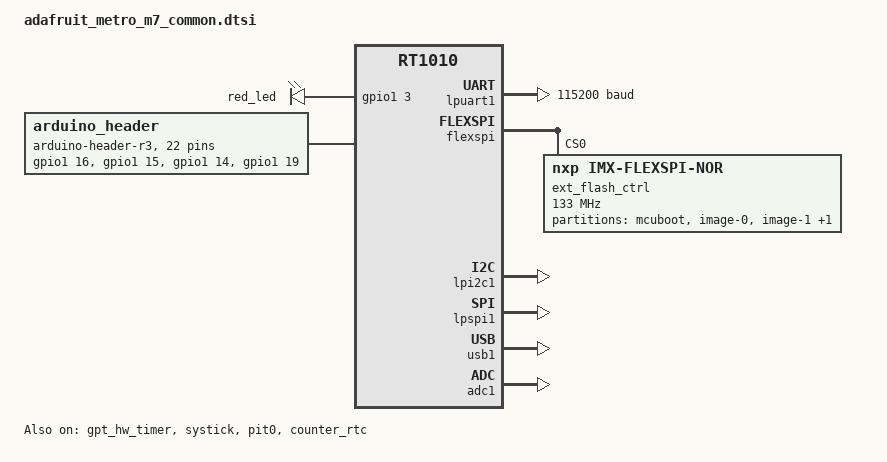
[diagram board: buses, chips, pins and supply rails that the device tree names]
/*
 * Copyright (c) 2026 Adafruit Industries LLC
 *
 * SPDX-License-Identifier: Apache-2.0
 */

#include <nxp/imxrt/nxp_rt1010.dtsi>
#include "adafruit_metro_m7-pinctrl.dtsi"
#include <zephyr/dt-bindings/gpio/arduino-header-r3.h>

/ {
	aliases {
		led0 = &red_led;
		rtc = &counter_rtc;
	};

	chosen {
		zephyr,sram = &ocram;
		zephyr,itcm = &itcm;
		zephyr,dtcm = &dtcm;
		zephyr,console = &lpuart1;
		zephyr,shell-uart = &lpuart1;
		zephyr,flash = &w25q64jv;
		zephyr,flash-controller = &ext_flash_ctrl;
		zephyr,code-partition = &slot0_partition;
		zephyr,uart-mcumgr = &lpuart1;
	};

	leds {
		compatible = "gpio-leds";

		red_led: led-0 {
			gpios = <&gpio1 3 GPIO_ACTIVE_HIGH>;
		};
	};

	arduino_header: connector {
		compatible = "arduino-header-r3";
		#gpio-cells = <2>;
		gpio-map-mask = <0xffffffff 0xffffffc0>;
		gpio-map-pass-thru = <0 0x3f>;
		gpio-map = <ARDUINO_HEADER_R3_A0 0 &gpio1 16 0>,	/* GPIO_AD_02 */
			   <ARDUINO_HEADER_R3_A1 0 &gpio1 15 0>,	/* GPIO_AD_01 */
			   <ARDUINO_HEADER_R3_A2 0 &gpio1 14 0>,	/* GPIO_AD_00 */
			   <ARDUINO_HEADER_R3_A3 0 &gpio1 19 0>,	/* GPIO_AD_05 */
			   <ARDUINO_HEADER_R3_A4 0 &gpio1 24 0>,	/* GPIO_AD_10 */
			   <ARDUINO_HEADER_R3_A5 0 &gpio1 22 0>,	/* GPIO_AD_08 */
			   <ARDUINO_HEADER_R3_D0 0 &gpio1 9 0>,		/* GPIO_09 */
			   <ARDUINO_HEADER_R3_D1 0 &gpio1 10 0>,	/* GPIO_10 */
			   <ARDUINO_HEADER_R3_D2 0 &gpio1 13 0>,	/* GPIO_13 */
			   <ARDUINO_HEADER_R3_D3 0 &gpio1 12 0>,	/* GPIO_12 */
			   <ARDUINO_HEADER_R3_D4 0 &gpio2 0 0>,		/* GPIO_SD_00 */
			   <ARDUINO_HEADER_R3_D5 0 &gpio2 1 0>,		/* GPIO_SD_01 */
			   <ARDUINO_HEADER_R3_D6 0 &gpio2 2 0>,		/* GPIO_SD_02 */
			   <ARDUINO_HEADER_R3_D7 0 &gpio1 11 0>,	/* GPIO_11 */
			   <ARDUINO_HEADER_R3_D8 0 &gpio1 8 0>,		/* GPIO_08 */
			   <ARDUINO_HEADER_R3_D9 0 &gpio1 7 0>,		/* GPIO_07 */
			   <ARDUINO_HEADER_R3_D10 0 &gpio1 6 0>,	/* GPIO_06 */
			   <ARDUINO_HEADER_R3_D11 0 &gpio1 5 0>,	/* GPIO_05 */
			   <ARDUINO_HEADER_R3_D12 0 &gpio1 4 0>,	/* GPIO_04 */
			   <ARDUINO_HEADER_R3_D13 0 &gpio1 3 0>,	/* GPIO_03 */
			   <ARDUINO_HEADER_R3_D14 0 &gpio1 1 0>,	/* GPIO_01, SDA */
			   <ARDUINO_HEADER_R3_D15 0 &gpio1 2 0>;	/* GPIO_02, SCL */
	};
};

arduino_serial: &lpuart1 {};

&flexspi {
	status = "okay";
	reg = <0x400a0000 0x4000>, <0x60000000 DT_SIZE_M(8)>;

	ext_flash_ctrl: flash-controller@0 {
		compatible = "nxp,imx-flexspi-nor";
		size = <DT_SIZE_M(8 * 8)>;
		reg = <0>;
		spi-max-frequency = <DT_FREQ_M(133)>;
		status = "okay";
		jedec-id = [ef 40 17];

		#address-cells = <1>;
		#size-cells = <1>;
		ranges = <0x0 0x60000000 DT_SIZE_M(8)>;

		w25q64jv: flash@0 {
			compatible = "soc-nv-flash";
			reg = <0x0 DT_SIZE_M(8)>;
			erase-block-size = <DT_SIZE_K(4)>;
			write-block-size = <1>;

			#address-cells = <1>;
			#size-cells = <1>;
			ranges;

			partitions {
				#address-cells = <1>;
				#size-cells = <1>;
				ranges;

				/*
				 * Partition sizes must be aligned
				 * to the flash memory sector size of 4KB.
				 */
				boot_partition: partition@0 {
					compatible = "zephyr,mapped-partition";
					label = "mcuboot";
					reg = <0x00000000 DT_SIZE_K(128)>;
				};

				slot0_partition: partition@20000 {
					compatible = "zephyr,mapped-partition";
					label = "image-0";
					reg = <0x00020000 DT_SIZE_M(3)>;
				};

				slot1_partition: partition@320000 {
					compatible = "zephyr,mapped-partition";
					label = "image-1";
					reg = <0x00320000 DT_SIZE_M(3)>;
				};

				storage_partition: partition@620000 {
					compatible = "zephyr,mapped-partition";
					label = "storage";
					reg = <0x00620000 (DT_SIZE_M(2) - DT_SIZE_K(128))>;
				};
			};
		};
	};
};

arduino_i2c: &lpi2c1 {
	status = "okay";
	pinctrl-0 = <&pinmux_lpi2c1>;
	pinctrl-names = "default";
};

&lpuart1 {
	status = "okay";
	current-speed = <115200>;
	pinctrl-0 = <&pinmux_lpuart1>;
	pinctrl-1 = <&pinmux_lpuart1_sleep>;
	pinctrl-names = "default", "sleep";
};

arduino_spi: &lpspi1 {
	status = "okay";
	/* DMA channels 0 and 1, muxed to LPSPI1 RX and TX */
	dmas = <&edma0 0 13>, <&edma0 1 14>;
	dma-names = "rx", "tx";
	pinctrl-0 = <&pinmux_lpspi1>;
	pinctrl-names = "default";
};

zephyr_udc0: &usb1 {
	status = "okay";
};

&adc1 {
	status = "okay";
	pinctrl-0 = <&pinmux_adc1>;
	pinctrl-names = "default";
};

&edma0 {
	status = "okay";
};

&gpt_hw_timer {
	status = "okay";
};

&systick {
	status = "okay";
};

&pit0 {
	status = "okay";
};

&counter_rtc {
	status = "okay";
};
